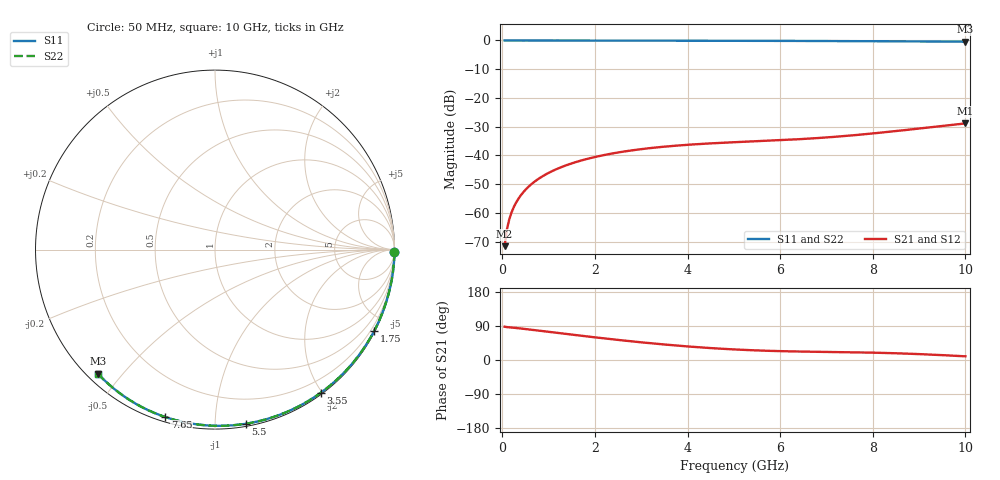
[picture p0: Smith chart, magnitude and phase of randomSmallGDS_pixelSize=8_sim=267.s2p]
! freq	dB(S11)	phase(S11)	dB(S12)	phase(S12)
!  dB(S21)	phase(S21)	dB(S22)	phase(S22)
!S-par simulation data
#  GHz  S  DB  R 50
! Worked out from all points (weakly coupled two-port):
!   200 points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, 50 MHz to 10 GHz, reference 50 ohm
!   highest |S21| = -28.86 dB at 10 GHz (marker M1); lowest = -71.6 dB at 50 MHz (marker M2)
!   lowest |S11| = -0.4 dB at 10 GHz (marker M3), VSWR 39.37, Z = 1.51 - j21.5 ohm
!   |S11| at or under -10 dB: nowhere
!   |S22| runs from -0.4 to 0.0 dB; largest |S21 - S12| = 0
!   S11 on the Smith chart (normalised r, x): 50 MHz: open; 1.75 GHz: 0.04, -4.16; 3.55 GHz: 0.02, -1.99; 5.5 GHz: 0.02, -1.19; 7.65 GHz: 0.02, -0.75; 10 GHz: 0.03, -0.43
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0.05  -0.00 -0.8  -71.56 87.8  -71.56 87.8  -0.00 -0.8
0.1  -0.00 -1.6  -65.70 86.9  -65.70 86.9  -0.00 -1.6
0.15  -0.00 -2.4  -62.27 86.3  -62.27 86.3  -0.00 -2.4
0.2  -0.00 -3.1  -59.82 85.7  -59.82 85.7  -0.00 -3.1
0.25  -0.00 -3.9  -57.91 85.1  -57.91 85.1  -0.00 -3.9
0.35  -0.00 -5.5  -55.02 83.8  -55.02 83.8  -0.00 -5.5
0.5  -0.01 -7.8  -51.95 81.7  -51.95 81.7  -0.01 -7.8
0.7  -0.01 -10.9  -49.08 78.8  -49.08 78.8  -0.01 -10.9
1  -0.02 -15.6  -46.07 74.3  -46.07 74.3  -0.02 -15.6
1.35  -0.03 -20.9  -43.60 69.1  -43.60 69.1  -0.03 -20.9
1.75  -0.03 -27.0  -41.55 63.3  -41.55 63.3  -0.03 -27.0
2.5  -0.05 -38.2  -38.97 53.0  -38.97 53.0  -0.05 -38.2
3.4  -0.07 -51.3  -37.10 42.0  -37.10 42.0  -0.07 -51.3
3.55  -0.07 -53.4  -36.87 40.4  -36.87 40.4  -0.07 -53.4
4.3  -0.09 -63.9  -35.99 33.1  -35.99 33.1  -0.09 -63.9
5.05  -0.11 -74.0  -35.37 27.6  -35.37 27.6  -0.11 -74.0
5.5  -0.13 -79.9  -35.05 25.3  -35.05 25.3  -0.13 -79.9
6.7  -0.18 -95.1  -34.07 21.8  -34.07 21.8  -0.18 -95.1
7.65  -0.24 -106.5  -32.88 20.2  -32.88 20.2  -0.24 -106.5
8.35  -0.29 -114.7  -31.77 18.3  -31.77 18.3  -0.29 -114.7
9.2  -0.36 -124.4  -30.29 14.5  -30.29 14.5  -0.36 -124.4
10  -0.44 -133.4  -28.86 9.7  -28.86 9.7  -0.44 -133.4
